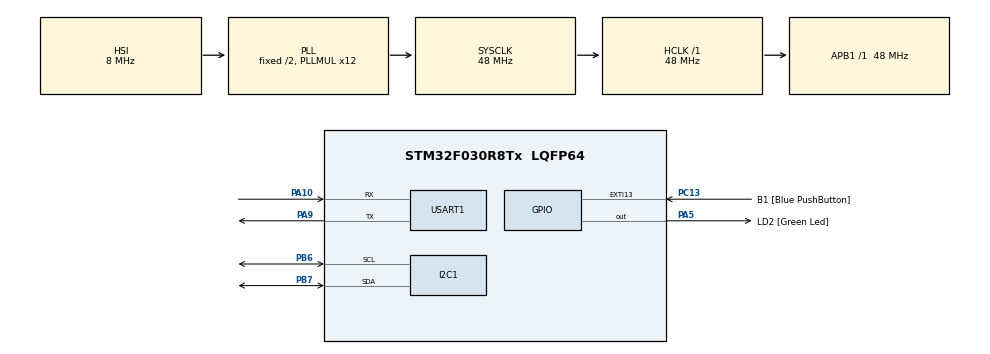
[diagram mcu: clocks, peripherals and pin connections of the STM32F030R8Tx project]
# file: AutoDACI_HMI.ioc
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Mcu.Family=STM32F0
Mcu.Name=STM32F030R8Tx
Mcu.Package=LQFP64
PA10.Mode=Asynchronous
PA10.Signal=USART1_RX
PA13.GPIO_Label=TMS
PA13.Mode=Serial_Wire
PA13.Signal=SYS_SWDIO
PA14.GPIO_Label=TCK
PA14.Mode=Serial_Wire
PA14.Signal=SYS_SWCLK
PA2.GPIO_Label=USART_TX
PA2.GPIO_Mode=GPIO_MODE_AF_PP
PA2.GPIO_PuPd=GPIO_NOPULL
PA2.GPIO_Speed=GPIO_SPEED_FREQ_LOW
PA2.Signal=USART2_TX
PA3.GPIO_Label=USART_RX
PA3.GPIO_Mode=GPIO_MODE_AF_PP
PA3.GPIO_PuPd=GPIO_NOPULL
PA3.GPIO_Speed=GPIO_SPEED_FREQ_LOW
PA3.Signal=USART2_RX
PA5.GPIO_Label=LD2 [Green Led]
PA5.GPIO_Mode=GPIO_MODE_OUTPUT_PP
PA5.GPIO_PuPd=GPIO_NOPULL
PA5.GPIO_Speed=GPIO_SPEED_FREQ_LOW
PA5.Signal=GPIO_Output
PA9.Mode=Asynchronous
PA9.Signal=USART1_TX
PB6.Mode=I2C
PB6.Signal=I2C1_SCL
PB7.Mode=I2C
PB7.Signal=I2C1_SDA
PC13.GPIO_Label=B1 [Blue PushButton]
PC13.GPIO_ModeDefaultEXTI=GPIO_MODE_IT_FALLING
PC13.Signal=GPXTI13
PC14-OSC32_IN.Mode=LSE-External-Oscillator
PC14-OSC32_IN.Signal=RCC_OSC32_IN
PC15-OSC32_OUT.Mode=LSE-External-Oscillator
PC15-OSC32_OUT.Signal=RCC_OSC32_OUT
PF0-OSC_IN.Mode=HSE-External-Clock-Source
PF0-OSC_IN.Signal=RCC_OSC_IN
PF1-OSC_OUT.Signal=RCC_OSC_OUT
ProjectManager.HeapSize=0x200
ProjectManager.StackSize=0x400
ProjectManager.TargetToolchain=Makefile
RCC.AHBFreq_Value=48000000
RCC.APB1Freq_Value=48000000
RCC.APB1TimFreq_Value=48000000
RCC.HCLKFreq_Value=48000000
RCC.PLLMUL=RCC_PLL_MUL12
RCC.SYSCLKFreq_VALUE=48000000
RCC.SYSCLKSource=RCC_SYSCLKSOURCE_PLLCLK
USART1.VirtualMode-Asynchronous=VM_ASYNC
board=NUCLEO-F030R8

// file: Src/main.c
/* USER CODE BEGIN Header */
/**
  ******************************************************************************
  * @file           : main.c
  * @brief          : Main program body
  ******************************************************************************
  * @attention
  *
  * <h2><center>&copy; Copyright (c) 2020 STMicroelectronics.
  * All rights reserved.</center></h2>
  *
  * This software component is licensed by ST under BSD 3-Clause license,
  * the "License"; You may not use this file except in compliance with the
  * License. You may obtain a copy of the License at:
  *                        opensource.org/licenses/BSD-3-Clause
  *
  ******************************************************************************
  */
/* USER CODE END Header */

#include "main.h"

I2C_HandleTypeDef hi2c1;

UART_HandleTypeDef huart1;

void SystemClock_Config(void);
static void MX_GPIO_Init(void);
static void MX_I2C1_Init(void);
static void MX_USART1_UART_Init(void);
/* USER CODE BEGIN PFP */
volatile int16_t button_data;
/* USER CODE END PFP */

/* USER CODE BEGIN 0 */
/*Button Push*/
void
Button_Push_Init()
{
  // Enable GPIO Peripheral clock

  GPIO_InitTypeDef GPIO_InitStructure;

  // Configure pin in output push/pull mode, for the button
  GPIO_InitStructure.Pin = GPIO_PIN_9 ;
  GPIO_InitStructure.Mode = GPIO_MODE_INPUT;
  GPIO_InitStructure.Speed =GPIO_SPEED_FREQ_HIGH ;
  GPIO_InitStructure.Pull = GPIO_PULLUP   ;
  HAL_GPIO_Init(GPIOA, &GPIO_InitStructure);

  //Configure pin in output push/pull mode, for the LED
  GPIO_InitStructure.Pin = GPIO_PIN_5;
  GPIO_InitStructure.Mode = GPIO_MODE_OUTPUT_PP;
  GPIO_InitStructure.Speed =GPIO_SPEED_FREQ_HIGH ;
  GPIO_InitStructure.Pull = GPIO_PULLUP;
  HAL_GPIO_Init(GPIOA, &GPIO_InitStructure);

}

/*Timer*/
void
Timer(int A){
	int I = 0;
	while(I < A*1000){
		I++;
	}
}

void
Button_Push(){
	if(HAL_GPIO_ReadPin(GPIOA,GPIO_PIN_9) == 1 ){
		  HAL_GPIO_WritePin(GPIOA,GPIO_PIN_5,GPIO_PIN_SET);
		  button_data = 1;
	  }else{
		  button_data = 0;
	  }

	Timer(500);
}
/* USER CODE END 0 */

int main(void)
{

  /* MCU Configuration--------------------------------------------------------*/

  /* Reset of all peripherals, Initializes the Flash interface and the Systick. */
  HAL_Init();

  /* Configure the system clock */
  SystemClock_Config();

  /* Initialize all configured peripherals */
  MX_GPIO_Init();
  MX_I2C1_Init();
  MX_USART1_UART_Init();
  /* USER CODE BEGIN 2 */

  //  This is how you initialize a pin to be used as an output
  GPIO_InitTypeDef GPIO_InitStruct = {0};
  GPIO_InitStruct.Pin = GPIO_PIN_5;
  GPIO_InitStruct.Mode = GPIO_MODE_OUTPUT_PP;
  GPIO_InitStruct.Pull = GPIO_NOPULL;
  GPIO_InitStruct.Speed = GPIO_SPEED_FREQ_HIGH;
  HAL_GPIO_Init(GPIOA, &GPIO_InitStruct);

  // You can "set" and "reset" the pin like this
  HAL_GPIO_WritePin(GPIOA, GPIO_PIN_5, GPIO_PIN_RESET);

  //  This is how you initialize a pin to be used as an input
  GPIO_InitStruct.Pin = GPIO_PIN_13;
  GPIO_InitStruct.Mode = GPIO_MODE_INPUT;
  GPIO_InitStruct.Pull = GPIO_NOPULL;
  GPIO_InitStruct.Speed = GPIO_SPEED_FREQ_HIGH;
  HAL_GPIO_Init(GPIOC, &GPIO_InitStruct);

  // You can read the current (digital 1 or 0) value on the pin like this
  GPIO_PinState state = HAL_GPIO_ReadPin(GPIOC, GPIO_PIN_13); // Either GPIO_PIN_RESET or GPIO_PIN_SET

  /* USER CODE END 2 */

  /* Infinite loop */
  /* USER CODE BEGIN WHILE */
  while (1)
  {
	  uint8_t data = 0xEE;
	  if (!HAL_GPIO_ReadPin(GPIOC, GPIO_PIN_13))
	  {
		  // Turn on LED2 if USER button is pressed
		  HAL_GPIO_WritePin(GPIOA, GPIO_PIN_5, GPIO_PIN_SET);
		  data = 0xFF;
	  }
	  else
	  {
		  // Turn off LED2
		  HAL_GPIO_WritePin(GPIOA, GPIO_PIN_5, GPIO_PIN_RESET);
		  data = 0xDD;
	  }
	  HAL_UART_Transmit(&huart1, &data, 1, UINT32_MAX);
    /* USER CODE END WHILE */

  }
}

void SystemClock_Config(void)
{
  RCC_OscInitTypeDef RCC_OscInitStruct = {0};
  RCC_ClkInitTypeDef RCC_ClkInitStruct = {0};
  RCC_PeriphCLKInitTypeDef PeriphClkInit = {0};

  /** Initializes the CPU, AHB and APB busses clocks
  */
  RCC_OscInitStruct.OscillatorType = RCC_OSCILLATORTYPE_HSI;
  RCC_OscInitStruct.HSIState = RCC_HSI_ON;
  RCC_OscInitStruct.HSICalibrationValue = RCC_HSICALIBRATION_DEFAULT;
  RCC_OscInitStruct.PLL.PLLState = RCC_PLL_ON;
  RCC_OscInitStruct.PLL.PLLSource = RCC_PLLSOURCE_HSI;
  RCC_OscInitStruct.PLL.PLLMUL = RCC_PLL_MUL12;
  RCC_OscInitStruct.PLL.PREDIV = RCC_PREDIV_DIV1;
  if (HAL_RCC_OscConfig(&RCC_OscInitStruct) != HAL_OK)
  {
    Error_Handler();
  }
  /** Initializes the CPU, AHB and APB busses clocks
  */
  RCC_ClkInitStruct.ClockType = RCC_CLOCKTYPE_HCLK|RCC_CLOCKTYPE_SYSCLK
                              |RCC_CLOCKTYPE_PCLK1;
  RCC_ClkInitStruct.SYSCLKSource = RCC_SYSCLKSOURCE_PLLCLK;
  RCC_ClkInitStruct.AHBCLKDivider = RCC_SYSCLK_DIV1;
  RCC_ClkInitStruct.APB1CLKDivider = RCC_HCLK_DIV1;

  if (HAL_RCC_ClockConfig(&RCC_ClkInitStruct, FLASH_LATENCY_1) != HAL_OK)
  {
    Error_Handler();
  }
  PeriphClkInit.PeriphClockSelection = RCC_PERIPHCLK_USART1|RCC_PERIPHCLK_I2C1;
  PeriphClkInit.Usart1ClockSelection = RCC_USART1CLKSOURCE_PCLK1;
  PeriphClkInit.I2c1ClockSelection = RCC_I2C1CLKSOURCE_HSI;
  if (HAL_RCCEx_PeriphCLKConfig(&PeriphClkInit) != HAL_OK)
  {
    Error_Handler();
  }
}

static void MX_I2C1_Init(void)
{

  hi2c1.Instance = I2C1;
  hi2c1.Init.Timing = 0x2000090E;
  hi2c1.Init.OwnAddress1 = 0;
  hi2c1.Init.AddressingMode = I2C_ADDRESSINGMODE_7BIT;
  hi2c1.Init.DualAddressMode = I2C_DUALADDRESS_DISABLE;
  hi2c1.Init.OwnAddress2 = 0;
  hi2c1.Init.OwnAddress2Masks = I2C_OA2_NOMASK;
  hi2c1.Init.GeneralCallMode = I2C_GENERALCALL_DISABLE;
  hi2c1.Init.NoStretchMode = I2C_NOSTRETCH_DISABLE;
  if (HAL_I2C_Init(&hi2c1) != HAL_OK)
  {
    Error_Handler();
  }
  /** Configure Analogue filter
  */
  if (HAL_I2CEx_ConfigAnalogFilter(&hi2c1, I2C_ANALOGFILTER_ENABLE) != HAL_OK)
  {
    Error_Handler();
  }
  /** Configure Digital filter
  */
  if (HAL_I2CEx_ConfigDigitalFilter(&hi2c1, 0) != HAL_OK)
  {
    Error_Handler();
  }

}

static void MX_USART1_UART_Init(void)
{

  huart1.Instance = USART1;
  huart1.Init.BaudRate = 115200;
  huart1.Init.WordLength = UART_WORDLENGTH_8B;
  huart1.Init.StopBits = UART_STOPBITS_1;
  huart1.Init.Parity = UART_PARITY_NONE;
  huart1.Init.Mode = UART_MODE_TX_RX;
  huart1.Init.HwFlowCtl = UART_HWCONTROL_NONE;
  huart1.Init.OverSampling = UART_OVERSAMPLING_16;
  huart1.Init.OneBitSampling = UART_ONE_BIT_SAMPLE_DISABLE;
  huart1.AdvancedInit.AdvFeatureInit = UART_ADVFEATURE_NO_INIT;
  if (HAL_UART_Init(&huart1) != HAL_OK)
  {
    Error_Handler();
  }

}

static void MX_GPIO_Init(void)
{
  GPIO_InitTypeDef GPIO_InitStruct = {0};

  /* GPIO Ports Clock Enable */
  __HAL_RCC_GPIOC_CLK_ENABLE();
  __HAL_RCC_GPIOF_CLK_ENABLE();
  __HAL_RCC_GPIOA_CLK_ENABLE();
  __HAL_RCC_GPIOB_CLK_ENABLE();

  /*Configure GPIO pin Output Level */
  HAL_GPIO_WritePin(LD2_GPIO_Port, LD2_Pin, GPIO_PIN_RESET);

  /*Configure GPIO pin : B1_Pin */
  GPIO_InitStruct.Pin = B1_Pin;
  GPIO_InitStruct.Mode = GPIO_MODE_IT_FALLING;
  GPIO_InitStruct.Pull = GPIO_NOPULL;
  HAL_GPIO_Init(B1_GPIO_Port, &GPIO_InitStruct);

  /*Configure GPIO pins : USART_TX_Pin USART_RX_Pin */
  GPIO_InitStruct.Pin = USART_TX_Pin|USART_RX_Pin;
  GPIO_InitStruct.Mode = GPIO_MODE_AF_PP;
  GPIO_InitStruct.Pull = GPIO_NOPULL;
  GPIO_InitStruct.Speed = GPIO_SPEED_FREQ_LOW;
  GPIO_InitStruct.Alternate = GPIO_AF1_USART2;
  HAL_GPIO_Init(GPIOA, &GPIO_InitStruct);

  /*Configure GPIO pin : LD2_Pin */
  GPIO_InitStruct.Pin = LD2_Pin;
  GPIO_InitStruct.Mode = GPIO_MODE_OUTPUT_PP;
  GPIO_InitStruct.Pull = GPIO_NOPULL;
  GPIO_InitStruct.Speed = GPIO_SPEED_FREQ_LOW;
  HAL_GPIO_Init(LD2_GPIO_Port, &GPIO_InitStruct);

}

void Error_Handler(void)
{
}

/************************ (C) COPYRIGHT STMicroelectronics *****END OF FILE****/
